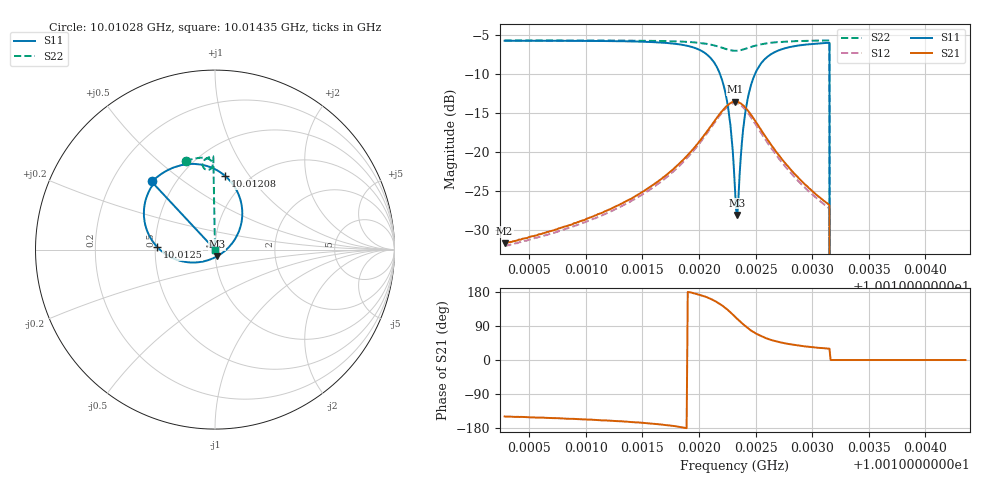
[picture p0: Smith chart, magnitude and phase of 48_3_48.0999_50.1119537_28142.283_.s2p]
#  HZ  S  RI  R  50.00
! Rohde & Schwarz Vector Network Analyzer
! Rohde-Schwarz,ZNB20-2Port,1311601062101988,3.16
! Created: UTC 12/23/2023, 3:39:29 AM
! freq[Hz]  re:S11  im:S11  re:S21  im:S21  re:S12  im:S12  re:S22  im:S22
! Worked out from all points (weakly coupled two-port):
!   401 points, 10.01028 GHz to 10.01435 GHz, reference 50 ohm
!   highest |S21| = -13.55 dB at 10.01232 GHz (marker M1); lowest = -31.8 dB at 10.01028 GHz (marker M2)
!   lowest |S11| = -28.1 dB at 10.01234 GHz (marker M3), VSWR 1.08, Z = 51 - j3.85 ohm
!   |S11| at or under -10 dB: 10.01219 GHz to 10.01249 GHz (309.3 kHz wide, 0.00309 % of centre); 10.01315 GHz to end of sweep
!   |S22| runs from - to -5.7 dB; largest |S21 - S12| = 0.01
!   S11 on the Smith chart (normalised r, x): 10.01028 GHz: 0.37, +0.39; 10.01208 GHz: 0.78, +0.78; 10.0125 GHz: 0.51, +0.02; 10.01435 GHz: 1.00, +0.00
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1.0010283e10  -0.3482 0.3826  -0.0221 -0.0133  -0.0204 -0.014  -0.1638 0.4929
1.0010965e10  -0.2918 0.4263  -0.0331 -0.0144  -0.0311 -0.0154  -0.1185 0.5057
1.0011647e10  -0.179 0.4722  -0.0642 -0.0118  -0.0613 -0.0146  -0.0656 0.5119
1.0011932e10  -0.0596 0.4697  -0.1009 0.0038  -0.0977 -0.00153  -0.0364 0.5058
1.0012084e10  0.0567 0.4103  -0.1336 0.0384  -0.1323 0.0312  -0.0186 0.4917
1.0012176e10  0.1336 0.3011  -0.1482 0.0873  -0.1493 0.0785  -0.0126 0.4736
1.0012237e10  0.1509 0.1764  -0.1411 0.134  -0.1442 0.1247  -0.0164 0.4583
1.0012277e10  0.1244 0.0819  -0.1205 0.1664  -0.1239 0.1591  -0.0251 0.449
1.0012318e10  0.0573 -0.00551  -0.0862 0.1916  -0.0908 0.1846  -0.0373 0.4444
1.0012328e10  0.0358 -0.0223  -0.0766 0.1957  -0.0813 0.1884  -0.0406 0.4443
1.0012338e10  0.011 -0.0377  -0.0658 0.1986  -0.0713 0.1918  -0.0438 0.4444
1.0012349e10  -0.0124 -0.0491  -0.0564 0.2007  -0.0603 0.1938  -0.0473 0.4451
1.0012379e10  -0.0909 -0.0703  -0.0256 0.2005  -0.0297 0.1942  -0.0561 0.449
1.001241e10  -0.1673 -0.0685  0.00273 0.1923  -0.00251 0.1863  -0.0627 0.4552
1.001245e10  -0.2503 -0.0403  0.0315 0.1741  0.0253 0.1685  -0.0679 0.4651
1.0012501e10  -0.3235 0.0159  0.0531 0.147  0.0468 0.1423  -0.0689 0.4772
1.0012664e10  -0.3957 0.1824  0.0661 0.0807  0.06 0.0791  -0.0556 0.502
1.0013e10  -0.3628 0.3349  0.0464 0.0314  0.0428 0.0319  -0.0225 0.5176
1.0013132e10  -0.3451 0.3637  0.0403 0.0237  0.0371 0.0243  -0.0111 0.5196
1.0013183e10  0 0  0 0  0 0  0 0
1.0013681e10  0 0  0 0  0 0  0 0
1.0014353e10  0 0  0 0  0 0  0 0
